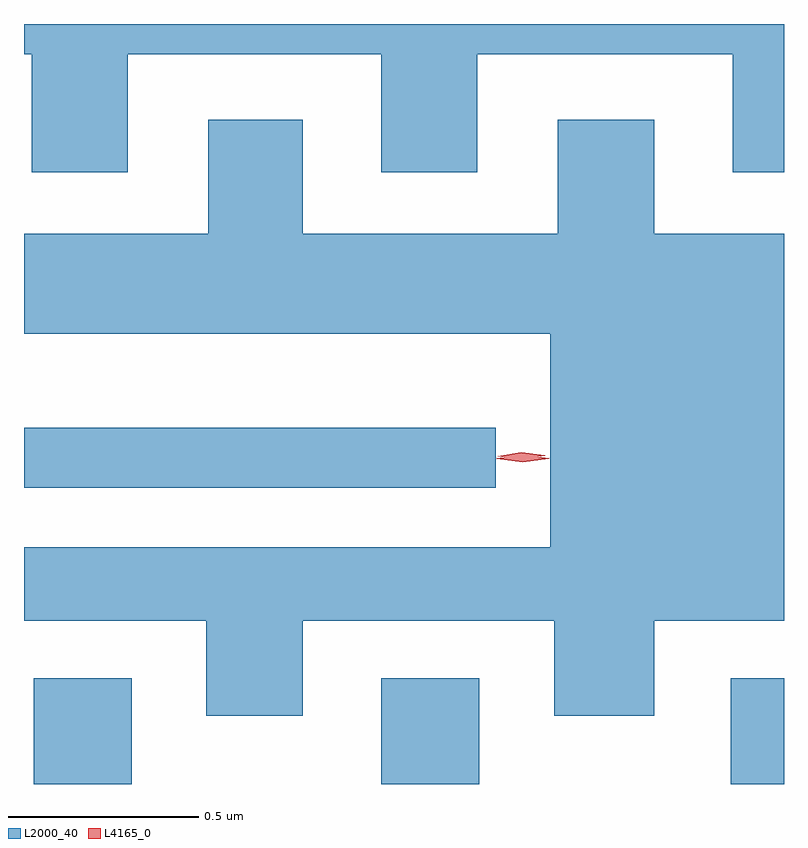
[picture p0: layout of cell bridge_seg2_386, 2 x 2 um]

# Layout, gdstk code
import gdstk
lib = gdstk.Library(unit=1e-6, precision=1e-09)
def R(c, l, rs):  # rectangles x0, y0, x1, y1
    for r in rs: c.add(gdstk.rectangle(r[:2], r[2:], *l))
def P(c, l, *ps):  # polygons
    for p in ps: c.add(gdstk.Polygon(p, *l))
L2000_40 = (2000, 40)
L4165_0 = (4165, 0)

bridge_seg2_386 = lib.new_cell('bridge_seg2_386')
R(bridge_seg2_386, L2000_40, [(597.111,1041.956,597.369,1042.234), (598.026,1041.956,598.284,1042.234), (598.946,1041.956,599.086,1042.234), (597.086,1042.736,598.328,1042.894)])
P(bridge_seg2_386, L2000_40, [(597.359,1043.876),(598.026,1043.876),(598.026,1043.566),(598.279,1043.566),(598.279,1043.876),(598.951,1043.876),(598.951,1043.566),(599.086,1043.566),(599.086,1043.956),(597.086,1043.956),(597.086,1043.876),(597.106,1043.876),(597.106,1043.566),(597.359,1043.566)],
  [(597.819,1042.386),(598.481,1042.386),(598.481,1042.136),(598.744,1042.136),(598.744,1042.386),(599.086,1042.386),(599.086,1043.404),(598.744,1043.404),(598.744,1043.704),(598.491,1043.704),(598.491,1043.404),(597.819,1043.404),(597.819,1043.704),(597.571,1043.704),(597.571,1043.404),(597.086,1043.404),(597.086,1043.141),(598.471,1043.141),(598.471,1042.579),(597.086,1042.579),(597.086,1042.386),(597.566,1042.386),(597.566,1042.136),(597.819,1042.136)])
P(bridge_seg2_386, L4165_0, [(598.395,1042.81),(598.333,1042.818),(598.333,1042.818),(598.333,1042.819),(598.395,1042.829),(598.457,1042.821),(598.458,1042.82),(598.457,1042.82)],
  [(598.399,1042.803),(598.33,1042.812),(598.33,1042.813),(598.33,1042.813),(598.399,1042.823),(598.467,1042.813),(598.468,1042.813),(598.467,1042.812)])

lib.write_gds('bridge_seg2_386.gds')
